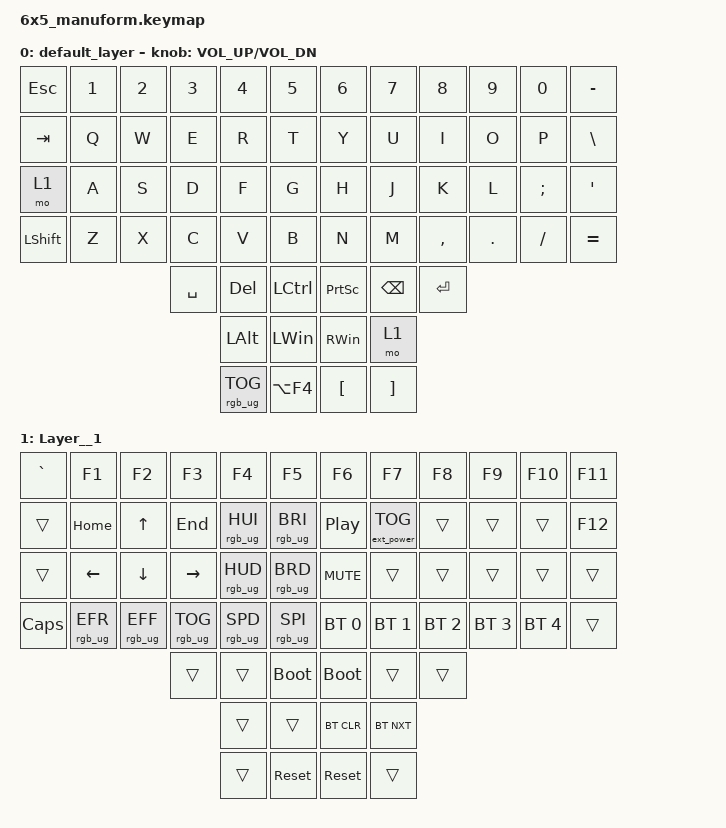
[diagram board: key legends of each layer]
/*
 * Copyright (c) 2020 The ZMK Contributors
 *
 * SPDX-License-Identifier: MIT
 */

#include <behaviors.dtsi>
#include <dt-bindings/zmk/keys.h>
#include <dt-bindings/zmk/rgb.h>
#include <dt-bindings/zmk/ext_power.h>
#include <dt-bindings/zmk/bt.h>

/ {
    keymap {
        compatible = "zmk,keymap";

        default_layer {
            bindings = <
    &kp ESCAPE           &kp N1      &kp N2        &kp N3            &kp N4  &kp N5    &kp N6           &kp N7         &kp N8            &kp N9    &kp N0      &kp MINUS
       &kp TAB            &kp Q       &kp W         &kp E             &kp R   &kp T     &kp Y            &kp U          &kp I             &kp O     &kp P  &kp BACKSLASH
         &mo 1            &kp A       &kp S         &kp D             &kp F   &kp G     &kp H            &kp J          &kp K             &kp L  &kp SEMI        &kp SQT
&kp LEFT_SHIFT            &kp Z       &kp X         &kp C             &kp V   &kp B     &kp N            &kp M      &kp COMMA           &kp DOT  &kp FSLH      &kp EQUAL
                                  &kp SPACE       &kp DEL  &kp LEFT_CONTROL                    &kp PRINTSCREEN  &kp BACKSPACE         &kp ENTER
                                             &kp LEFT_ALT      &kp LEFT_WIN                      &kp RIGHT_WIN          &mo 1
                &rgb_ug RGB_TOG  &kp LA(F4)                                                                                    &kp LEFT_BRACKET  &kp RBKT
            >;

            sensor-bindings = <&inc_dec_kp C_VOL_UP C_VOL_DN>;
        };

        Layer__1 {
            bindings = <
   &kp GRAVE           &kp F1           &kp F2           &kp F3           &kp F4           &kp F5              &kp F6             &kp F7        &kp F8        &kp F9       &kp F10  &kp F11
      &trans         &kp HOME           &kp UP          &kp END  &rgb_ug RGB_HUI  &rgb_ug RGB_BRI    &kp C_PLAY_PAUSE  &ext_power EP_TOG        &trans        &trans        &trans  &kp F12
      &trans         &kp LEFT         &kp DOWN        &kp RIGHT  &rgb_ug RGB_HUD  &rgb_ug RGB_BRD          &kp C_MUTE             &trans        &trans        &trans        &trans   &trans
&kp CAPSLOCK  &rgb_ug RGB_EFR  &rgb_ug RGB_EFF  &rgb_ug RGB_TOG  &rgb_ug RGB_SPD  &rgb_ug RGB_SPI        &bt BT_SEL 0       &bt BT_SEL 1  &bt BT_SEL 2  &bt BT_SEL 3  &bt BT_SEL 4   &trans
                                        &trans           &trans      &bootloader                                             &bootloader        &trans        &trans
                                                         &trans           &trans                                              &bt BT_CLR    &bt BT_NXT
                       &trans       &sys_reset                                                                                                            &sys_reset        &trans
            >;
        };
    };
};
